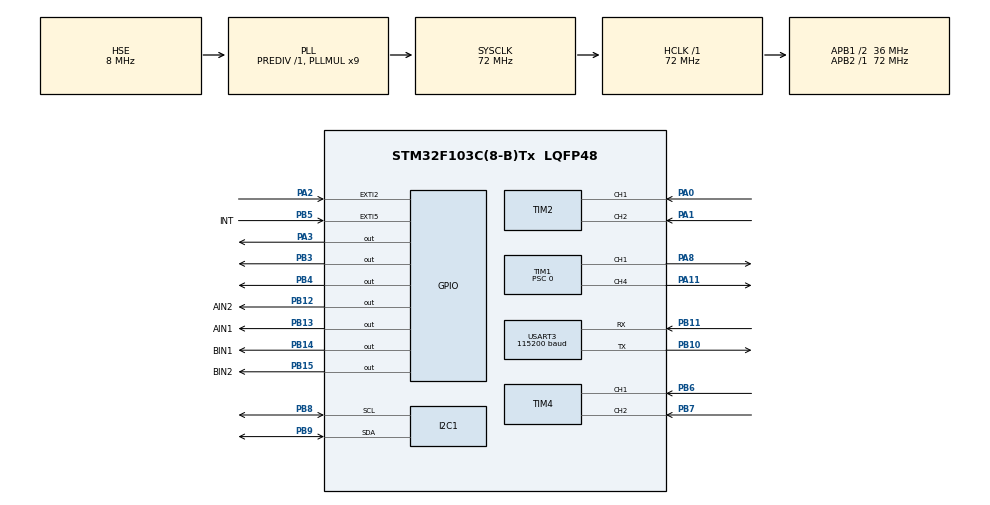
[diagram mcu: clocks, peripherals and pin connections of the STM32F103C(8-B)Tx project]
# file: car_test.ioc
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Mcu.Family=STM32F1
Mcu.Name=STM32F103C(8-B)Tx
Mcu.Package=LQFP48
NVIC.EXTI2_IRQn=true\:0\:0\:false\:false\:true\:true\:true\:true
NVIC.EXTI9_5_IRQn=true\:0\:0\:false\:false\:true\:true\:true\:true
NVIC.PriorityGroup=NVIC_PRIORITYGROUP_4
NVIC.TIM3_IRQn=true\:0\:0\:false\:false\:true\:true\:true\:true
NVIC.USART3_IRQn=true\:0\:0\:false\:false\:true\:true\:true\:true
PA0-WKUP.Signal=S_TIM2_CH1_ETR
PA1.Signal=S_TIM2_CH2
PA11.Signal=S_TIM1_CH4
PA13.Mode=Serial_Wire
PA13.Signal=SYS_JTMS-SWDIO
PA14.Mode=Serial_Wire
PA14.Signal=SYS_JTCK-SWCLK
PA2.GPIO_ModeDefaultEXTI=GPIO_MODE_IT_RISING_FALLING
PA2.Signal=GPXTI2
PA3.GPIO_Speed=GPIO_SPEED_FREQ_HIGH
PA3.Signal=GPIO_Output
PA8.Signal=S_TIM1_CH1
PB10.Mode=Asynchronous
PB10.Signal=USART3_TX
PB11.Mode=Asynchronous
PB11.Signal=USART3_RX
PB12.GPIO_Label=AIN2
PB12.Signal=GPIO_Output
PB13.GPIO_Label=AIN1
PB13.Signal=GPIO_Output
PB14.GPIO_Label=BIN1
PB14.Signal=GPIO_Output
PB15.GPIO_Label=BIN2
PB15.Signal=GPIO_Output
PB3.Signal=GPIO_Output
PB4.Signal=GPIO_Output
PB5.GPIO_Label=INT
PB5.GPIO_ModeDefaultEXTI=GPIO_MODE_IT_FALLING
PB5.GPIO_PuPd=GPIO_PULLUP
PB5.Signal=GPXTI5
PB6.Signal=S_TIM4_CH1
PB7.Signal=S_TIM4_CH2
PB8.Mode=I2C
PB8.Signal=I2C1_SCL
PB9.Mode=I2C
PB9.Signal=I2C1_SDA
PC14-OSC32_IN.Mode=LSE-External-Oscillator
PC14-OSC32_IN.Signal=RCC_OSC32_IN
PC15-OSC32_OUT.Mode=LSE-External-Oscillator
PC15-OSC32_OUT.Signal=RCC_OSC32_OUT
PD0-OSC_IN.Mode=HSE-External-Oscillator
PD0-OSC_IN.Signal=RCC_OSC_IN
PD1-OSC_OUT.Mode=HSE-External-Oscillator
PD1-OSC_OUT.Signal=RCC_OSC_OUT
ProjectManager.HeapSize=0x200
ProjectManager.StackSize=0x400
ProjectManager.TargetToolchain=STM32CubeIDE
RCC.AHBFreq_Value=72000000
RCC.APB1CLKDivider=RCC_HCLK_DIV2
RCC.APB1Freq_Value=36000000
RCC.APB1TimFreq_Value=72000000
RCC.APB2Freq_Value=72000000
RCC.APB2TimFreq_Value=72000000
RCC.HCLKFreq_Value=72000000
RCC.PLLMUL=RCC_PLL_MUL9
RCC.PLLSourceVirtual=RCC_PLLSOURCE_HSE
RCC.SYSCLKFreq_VALUE=72000000
RCC.SYSCLKSource=RCC_SYSCLKSOURCE_PLLCLK
RCC.USBFreq_Value=72000000
SH.S_TIM1_CH1.0=TIM1_CH1,PWM Generation1 CH1
SH.S_TIM1_CH4.0=TIM1_CH4,PWM Generation4 CH4
SH.S_TIM2_CH1_ETR.0=TIM2_CH1,Encoder_Interface
SH.S_TIM2_CH2.0=TIM2_CH2,Encoder_Interface
SH.S_TIM4_CH1.0=TIM4_CH1,Encoder_Interface
SH.S_TIM4_CH2.0=TIM4_CH2,Encoder_Interface
TIM1.Channel-PWM\ Generation1\ CH1=TIM_CHANNEL_1
TIM1.Channel-PWM\ Generation4\ CH4=TIM_CHANNEL_4
TIM1.Period=7200-1
TIM1.Prescaler=0
TIM1.Pulse-PWM\ Generation1\ CH1=7200
TIM1.Pulse-PWM\ Generation4\ CH4=7200
TIM2.EncoderMode=TIM_ENCODERMODE_TI12
TIM3.Prescaler=72-1
TIM4.EncoderMode=TIM_ENCODERMODE_TI12
USART3.BaudRate=115200
USART3.VirtualMode=VM_ASYNC
VP_TIM3_VS_ClockSourceINT.Mode=Internal
board=custom

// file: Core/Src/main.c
/* USER CODE BEGIN Header */
/**
  ******************************************************************************
  * @file           : main.c
  * @brief          : Main program body
  ******************************************************************************
  * @attention
  *
  * Copyright (c) 2026 STMicroelectronics.
  * All rights reserved.
  *
  * This software is licensed under terms that can be found in the LICENSE file
  * in the root directory of this software component.
  * If no LICENSE file comes with this software, it is provided AS-IS.
  *
  ******************************************************************************
  */
/* USER CODE END Header */
#include "main.h"
#include "i2c.h"
#include "tim.h"
#include "usart.h"
#include "gpio.h"

/* USER CODE BEGIN PV */
uint8_t display_buf[20];
uint8_t rx_buf[10];
uint8_t res=0;
uint8_t a=1;
/* USER CODE END PV */

void SystemClock_Config(void);

/* USER CODE BEGIN 0 */
void HAL_UART_RxCpltCallback(UART_HandleTypeDef *huart){
	if(huart == &huart3){

		debug_handle(&res);

		HAL_UART_Receive_IT(huart, &res, 1);
	}
}
/* USER CODE END 0 */

int main(void)
{

  /* MCU Configuration--------------------------------------------------------*/

  /* Reset of all peripherals, Initializes the Flash interface and the Systick. */
  HAL_Init();

  /* Configure the system clock */
  SystemClock_Config();

  /* Initialize all configured peripherals */
  MX_GPIO_Init();
  MX_USART3_UART_Init();
  MX_I2C1_Init();
  MX_TIM3_Init();
  MX_TIM1_Init();
  MX_TIM2_Init();
  MX_TIM4_Init();
  /* USER CODE BEGIN 2 */
  Project_Init();

#if DEBUG_ENABLE                            /* 开启调试 */

  debug_send_motorcode(DC_MOTOR);         /* 上传电机类型（直流有刷电机） */
  debug_send_motorstate(RUN_STATE);       /* 上传电机状态（空闲） */

  /* 同步数据PID参数到上位机 ，无论同步哪一组数据，目标值地址只能是外环PID的 */
  debug_send_initdata(TYPE_PID1, (float *)(&g_speed_pid.SetPoint), A_KP, A_KI, A_KD);  /* 位置环PID参数（PID1）*/
  debug_send_initdata(TYPE_PID2, (float *)(&g_speed_pid.SetPoint), S_KP, S_KI, S_KD);  /* 速度环PID参数（PID2）*/

#endif

  /* USER CODE END 2 */

  /* Infinite loop */
  /* USER CODE BEGIN WHILE */
  while (1)
  {
	  if(a_pid_flag==1){
		  Control();
		  a_pid_flag=0;
	  }

#if DEBUG_ENABLE

        /* 接收PID助手设置的直立环PID参数 */
        debug_receive_pid(TYPE_PID1, (float *)&g_angle_pid.Proportion,(float *)&g_angle_pid.Integral, (float *)&g_angle_pid.Derivative);

        /* 接收PID助手设置的速度环PID参数 */
        debug_receive_pid(TYPE_PID2, (float *)&g_speed_pid.Proportion, (float *)&g_speed_pid.Integral, (float *)&g_speed_pid.Derivative);

#endif

      /*读取数据*/
      mpu_dmp_get_data(&pitch, &roll, &yaw);

      Get_Distance();

      //显示数据
      OLED_PRINT();

    /* USER CODE END WHILE */

  }
}

void SystemClock_Config(void)
{
  RCC_OscInitTypeDef RCC_OscInitStruct = {0};
  RCC_ClkInitTypeDef RCC_ClkInitStruct = {0};

  /** Initializes the RCC Oscillators according to the specified parameters
  * in the RCC_OscInitTypeDef structure.
  */
  RCC_OscInitStruct.OscillatorType = RCC_OSCILLATORTYPE_HSE;
  RCC_OscInitStruct.HSEState = RCC_HSE_ON;
  RCC_OscInitStruct.HSEPredivValue = RCC_HSE_PREDIV_DIV1;
  RCC_OscInitStruct.HSIState = RCC_HSI_ON;
  RCC_OscInitStruct.PLL.PLLState = RCC_PLL_ON;
  RCC_OscInitStruct.PLL.PLLSource = RCC_PLLSOURCE_HSE;
  RCC_OscInitStruct.PLL.PLLMUL = RCC_PLL_MUL9;
  if (HAL_RCC_OscConfig(&RCC_OscInitStruct) != HAL_OK)
  {
    Error_Handler();
  }

  /** Initializes the CPU, AHB and APB buses clocks
  */
  RCC_ClkInitStruct.ClockType = RCC_CLOCKTYPE_HCLK|RCC_CLOCKTYPE_SYSCLK
                              |RCC_CLOCKTYPE_PCLK1|RCC_CLOCKTYPE_PCLK2;
  RCC_ClkInitStruct.SYSCLKSource = RCC_SYSCLKSOURCE_PLLCLK;
  RCC_ClkInitStruct.AHBCLKDivider = RCC_SYSCLK_DIV1;
  RCC_ClkInitStruct.APB1CLKDivider = RCC_HCLK_DIV2;
  RCC_ClkInitStruct.APB2CLKDivider = RCC_HCLK_DIV1;

  if (HAL_RCC_ClockConfig(&RCC_ClkInitStruct, FLASH_LATENCY_2) != HAL_OK)
  {
    Error_Handler();
  }
}

/* USER CODE BEGIN 4 */
void Project_Init(){
      HAL_Delay(20);
      OLED_Init();

      MPU_Init();
      mpu_dmp_init();

      pid_init();
      debug_init();

      //确保初始化完成后再开启中断
      HAL_NVIC_SetPriority(EXTI9_5_IRQn, 0, 0);
      HAL_NVIC_EnableIRQ(EXTI9_5_IRQn);

      HAL_TIM_PWM_Start(&htim1, TIM_CHANNEL_1);
      HAL_TIM_PWM_Start(&htim1, TIM_CHANNEL_4);
      HAL_TIM_Encoder_Start(&htim2, TIM_CHANNEL_ALL);
      __HAL_TIM_SET_COUNTER(&htim2,0);
      HAL_TIM_Encoder_Start(&htim4, TIM_CHANNEL_ALL);
      __HAL_TIM_SET_COUNTER(&htim4,0);

      HAL_UART_Receive_IT(&huart3, &res, 1);

}

void OLED_PRINT(){
      OLED_NewFrame();

      PRINT(roll,1);
      PRINT(g_motor_data.speed_left,17);
      PRINT(g_motor_data.speed_left,33);
      PRINT(g_speed_pid.ActualValue,48);

      OLED_ShowFrame();
}
/* USER CODE END 4 */

void Error_Handler(void)
{
  __disable_irq();
  while (1)
  {
  }
}
